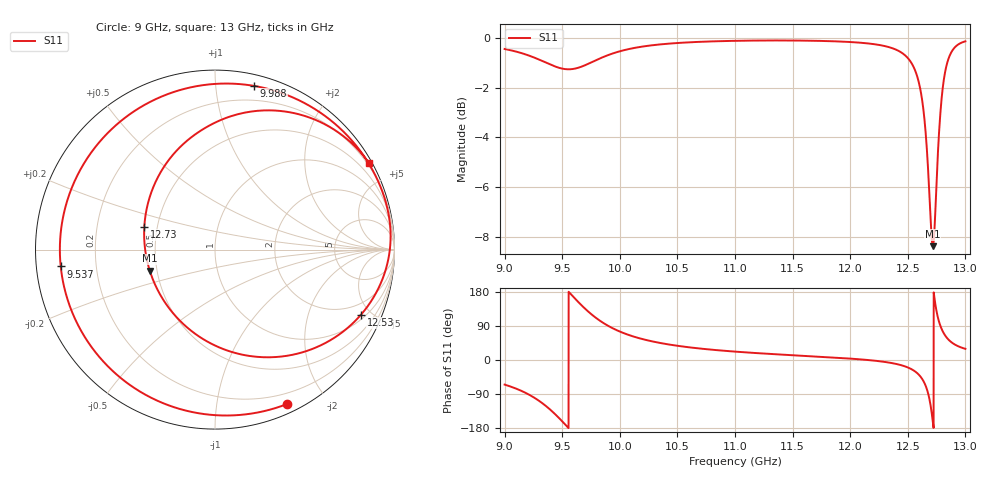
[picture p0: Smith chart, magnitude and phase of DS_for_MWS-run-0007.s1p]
! TOUCHSTONE file generated by CST DESIGN STUDIO
! Date and time: Tue Feb  4 16:12:23 2025
! Project name: C:\Work\MatlabApps\UnitCellOptimizationMatlab\CST\unitcell.cst
! Tree item: Tasks\Sweep1\SPara1\S-Parameters
! Header version: 2024
! Port assignment regex: !\s*Touchstone port\s*([0-9]+)\s*=\s*(CST MWS port|CST DES external port|CST DES block port)\s*(.+)\s* \(\"(.*)\"\)(\s*mode\s*([0-9]+))?.*
! Touchstone port assignment:
! Touchstone port 1 = CST DES external port 1 ("")
# GHz S MA R 50
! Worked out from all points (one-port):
!   4001 points, 9 GHz to 13 GHz, reference 50 ohm
!   lowest |S11| = -8.4 dB at 12.72 GHz (marker M1), VSWR 2.24, Z = 22.8 - j6.28 ohm
!   |S11| at or under -10 dB: nowhere
!   S11 on the Smith chart (normalised r, x): 9 GHz: 0.09, -1.57; 9.537 GHz: 0.07, -0.05; 9.988 GHz: 0.08, +1.26; 12.53 GHz: 1.24, -4.35; 12.73 GHz: 0.42, +0.13; 13 GHz: 0.13, +3.80
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9  0.9494 -64.9
9.147  0.9314 -81.6
9.297  0.9045 -107.3
9.398  0.8833 -131.6
9.5  0.8671 -161.8
9.537  0.8647 -173.8
9.631  0.8694 155.7
9.752  0.8922 121.0
9.856  0.9147 97.9
9.988  0.9376 76.7
10  0.9393 75.1
10.215  0.9614 53.8
10.5  0.9759 37.5
11  0.9858 22.1
11.5  0.9872 12.6
12  0.9804 3.7
12.31  0.961 -5.5
12.5  0.9105 -19.6
12.531  0.8904 -24.1
12.603  0.8 -41.2
12.657  0.6365 -69.5
12.687  0.4869 -101.8
12.717  0.382 -162.1
12.732  0.4139 162.1
12.768  0.6269 104.3
12.805  0.7989 74.7
12.882  0.9387 46.1
13  0.9835 29.4
